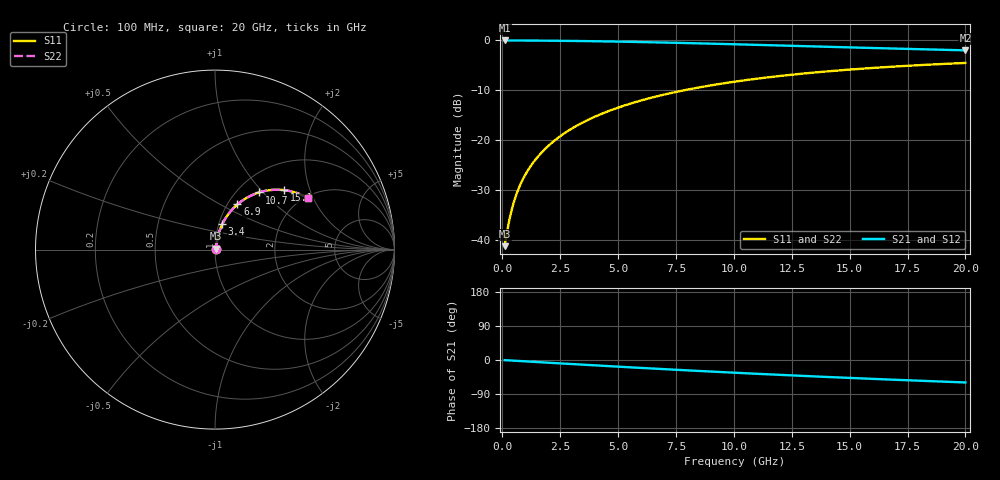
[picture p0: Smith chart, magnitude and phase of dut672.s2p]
! Touchstone file exported from HFSS 2026.1.0
!  File:  C:/ffzhzh/LocalFiles/Ansys_Project_Files/temp_train_TMRDL_672_1783009951_55676.aedt
!  Generated:  12:34:10 AM Jul  3, 2026
!  Design:  TMRDL
!  Project:  temp_train_TMRDL_672_1783009951_55676
! Variables:
!  h_bsmrdl = 2um
!  h_ox = 20um
!  h_rdl = 5um
!  h_sub = 80um
!  h_tmrdl = 3.39um
!  h_tsv = 80um
!  h_via = 3um
!  l_bsmrdl = 300um
!  l_sub = 1277.9um
!  l_tmrdl = 877.9um
!  m_sub = 200um
!  pitch = 45.16um
!  r_tsv = 6um
!  s_tmrdl = 10um
!  w_bsmrdl = 18um
!  w_sub = 500um
!  w_tmrdl = 12.56um
!  x_tsv_center1 = 884.18um
!  x_tsv_center2 = 1202.18um
!  x_tsv_center3 = 2092.64um
!  x_tsv_center4 = 2410.64um
!  x_tsv_center5 = 3301.1um
!  x_tsv_center6 = 3619.1um
# GHz S MA R 50.000000
! Terminal data exported
! Port[1] = TM_RDL1_1_T1
! Port[2] = TM_RDL1_1_T2
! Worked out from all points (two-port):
!   200 points, 100 MHz to 20 GHz, reference 50 ohm
!   highest |S21| = -0.06 dB at 100 MHz (marker M1); lowest = -2.0 dB at 20 GHz (marker M2)
!   |S21| within 3 dB of the highest: start of sweep to end of sweep
!   lowest |S11| = -41.3 dB at 100 MHz (marker M3), VSWR 1.02, Z = 50.7 + j0.461 ohm
!   |S11| at or under -10 dB: start of sweep to 7.91 GHz
!   |S22| runs from -41.3 to -4.6 dB; largest |S21 - S12| = 8.2e-15
!   S11 on the Smith chart (normalised r, x): 100 MHz: 1.01, +0.01; 3.4 GHz: 1.04, +0.30; 6.9 GHz: 1.11, +0.61; 10.7 GHz: 1.25, +0.95; 15.1 GHz: 1.52, +1.36; 20 GHz: 2.05, +1.81
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0.1  0.008595 31.9  0.9927 -0.4  0.9927 -0.4  0.008595 31.9
! Gamma 0 0 0 0
! Port Impedance 50 0 50 0
0.3  0.01557 60.1  0.9924 -1.1  0.9924 -1.1  0.01557 60.1
0.4  0.01964 65.6  0.9922 -1.5  0.9922 -1.5  0.01964 65.6
0.5  0.02381 69.1  0.992 -1.8  0.992 -1.8  0.02381 69.1
0.6  0.02801 71.4  0.9917 -2.2  0.9917 -2.2  0.02801 71.4
0.8  0.03648 74.2  0.9912 -2.9  0.9912 -2.9  0.03648 74.2
1.1  0.04924 76.2  0.9904 -4.0  0.9904 -4.0  0.04924 76.2
1.5  0.06631 77.1  0.9892 -5.4  0.9892 -5.4  0.06631 77.1
2  0.08761 77.0  0.9873 -7.2  0.9873 -7.2  0.08761 77.0
2.6  0.113 76.0  0.9844 -9.3  0.9844 -9.3  0.113 76.0
3.4  0.1463 74.1  0.9796 -12.1  0.9796 -12.1  0.1463 74.1
3.5  0.1505 73.8  0.9789 -12.5  0.9789 -12.5  0.1505 73.8
5  0.2105 69.4  0.9667 -17.6  0.9667 -17.6  0.2105 69.4
6.8  0.2778 63.9  0.9484 -23.6  0.9484 -23.6  0.2778 63.9
6.9  0.2813 63.6  0.9473 -23.9  0.9473 -23.9  0.2813 63.6
8.4  0.3325 59.0  0.9297 -28.6  0.9297 -28.6  0.3325 59.0
10.1  0.3852 54.1  0.9083 -33.8  0.9083 -33.8  0.3852 54.0
10.7  0.4024 52.3  0.9006 -35.6  0.9006 -35.6  0.4024 52.3
13.4  0.4718 45.0  0.8659 -43.1  0.8659 -43.1  0.4718 45.0
15.1  0.5088 40.6  0.8447 -47.6  0.8447 -47.6  0.5088 40.6
16.7  0.5394 36.7  0.8257 -51.6  0.8257 -51.6  0.5394 36.7
20  0.5907 29.2  0.7905 -59.3  0.7905 -59.3  0.5907 29.2
